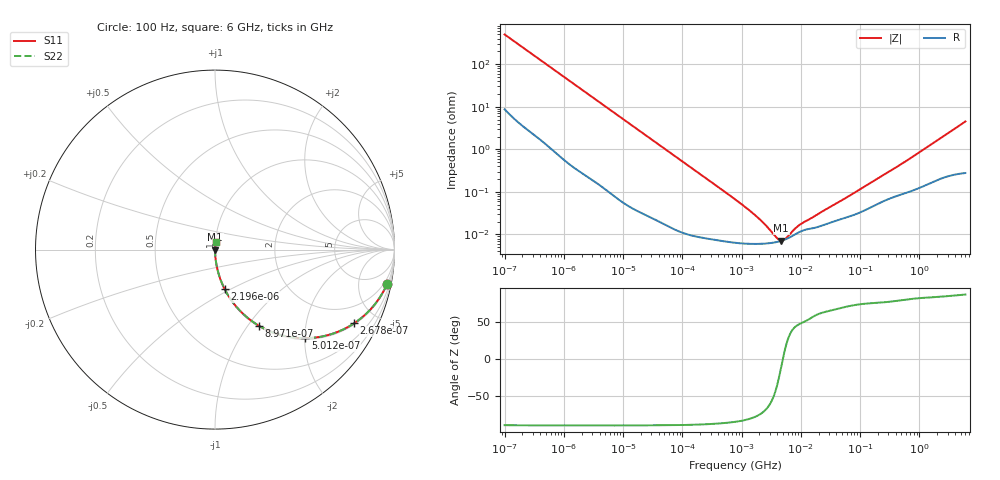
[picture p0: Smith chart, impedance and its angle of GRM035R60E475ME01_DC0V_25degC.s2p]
!Murata Part Number: GRM035R60E475ME01
!These Parameters are Measured in Series Mode Connection
!  o--ll--o
!Port1  Port2
!  o------o
!Operation Temp=25[degC], DC Bias Voltage=0[V]
!Freq. Start=100[Hz] Stop=6[GHz], 401[Steps]
!Data Generated on Oct 1, 2020
# Hz S RI R 50
!Freq.(Hz) S11(Real) S11(Imag) S21(Real) S21(Imag) S12(Real) S12(Imag) S22(Real) S22(Imag)
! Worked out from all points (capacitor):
!   401 points, 100 Hz to 6 GHz, reference 50 ohm
!   read as one part in series: C = 3.19 uF near 109.4 Hz
!   lowest |Z| = 7.21 mohm at 4.644 MHz (marker M1)
!   series resonance near 4.979 MHz, so ESL is about 320 pH
!   S11 on the Smith chart (normalised r, x): 100 Hz: 1, -10; 267.8 Hz: 1.05, -3.75; 501.2 Hz: 1.03, -2.01; 897.1 Hz: 1.01, -1.13; 2.196 kHz: 1.01, -0.46; 6 GHz: 1.01, +0.09
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100  0.9582 -0.1916  0.0418 0.1916  0.0418 0.1916  0.9582 -0.1916
171.1372  0.8916 -0.3036  0.1084 0.3036  0.1084 0.3036  0.8916 -0.3036
267.7924  0.775 -0.4107  0.225 0.4107  0.225 0.4107  0.775 -0.4107
383.1434  0.6312 -0.4758  0.3688 0.4758  0.3688 0.4758  0.6312 -0.4758
501.226  0.503 -0.4936  0.497 0.4936  0.497 0.4936  0.503 -0.4936
897.0642  0.2442 -0.4239  0.7558 0.4239  0.7558 0.4239  0.2442 -0.4239
1342.245  0.1278 -0.3285  0.8722 0.3285  0.8722 0.3285  0.1278 -0.3285
2008.354  0.0626 -0.2368  0.9374 0.2368  0.9374 0.2368  0.0626 -0.2368
2196.499  0.0531 -0.2189  0.9469 0.2189  0.9469 0.2189  0.0531 -0.2189
3759.029  0.0196 -0.1331  0.9804 0.1331  0.9804 0.1331  0.0196 -0.1331
7035.758  0.00608 -0.0725  0.9939 0.0725  0.9939 0.0725  0.00608 -0.0725
40334.87  0.000366 -0.0129  0.9996 0.0129  0.9996 0.0129  0.000366 -0.0129
774596.7  6.43e-05 -0.000669  0.9999 0.000669  0.9999 0.000669  6.43e-05 -0.000669
1813585  6.01e-05 -0.000254  0.9999 0.000254  0.9999 0.000254  6.01e-05 -0.000254
3394479  6.42e-05 -8.33e-05  0.9999 8.33e-05  0.9999 8.33e-05  6.42e-05 -8.33e-05
3712478  6.55e-05 -6.3e-05  0.9999 6.3e-05  0.9999 6.3e-05  6.55e-05 -6.3e-05
4643984  7.07e-05 -1.46e-05  0.9999 1.46e-05  0.9999 1.46e-05  7.07e-05 -1.46e-05
6353432  8.41e-05 5e-05  0.9999 -5e-05  0.9999 -5e-05  8.41e-05 5e-05
9506416  0.000114 0.000122  0.9999 -0.000122  0.9999 -0.000122  0.000114 0.000122
1.555665e7  0.000139 0.000206  0.9999 -0.000206  0.9999 -0.000206  0.000139 0.000206
3.124326e8  0.0007 0.00294  0.9993 -0.00294  0.9993 -0.00294  0.0007 0.00294
6e9  0.00479 0.0449  0.9952 -0.0449  0.9952 -0.0449  0.00479 0.0449
